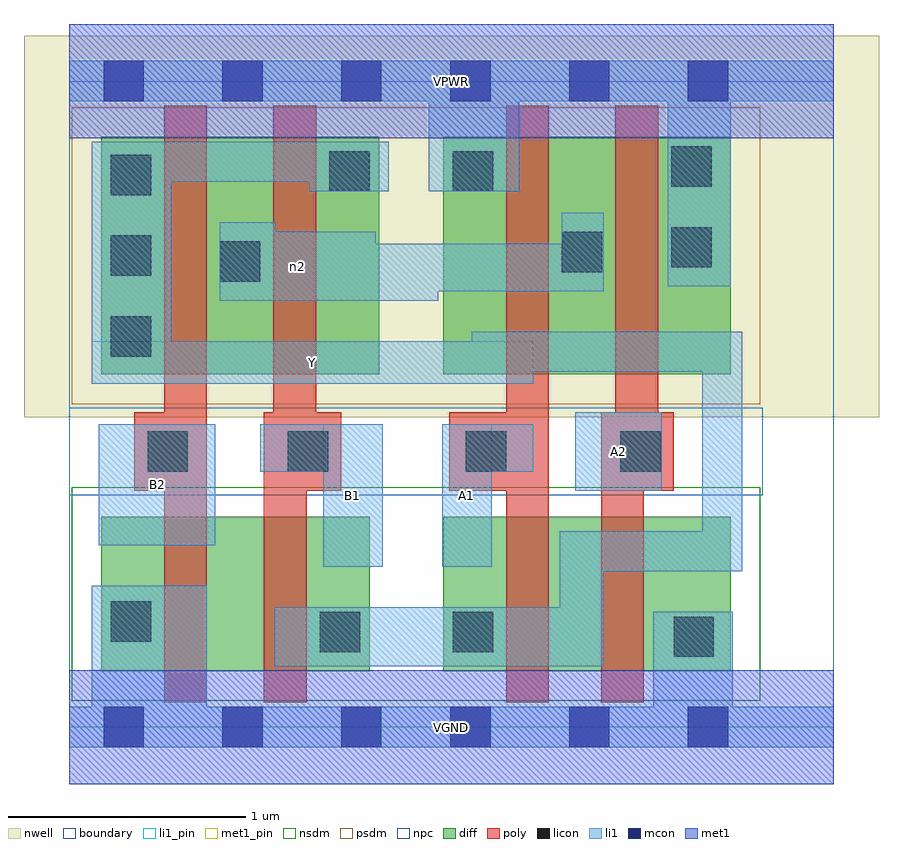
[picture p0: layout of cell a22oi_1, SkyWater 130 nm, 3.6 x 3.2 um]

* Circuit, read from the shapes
.subckt a22oi_1 A1 A2 B1 B2 VGND VPWR Y n2
XM1 n1 B2 VGND VSUBS sky130_fd_pr__nfet_01v8 w=0.65 l=0.18
XM2 Y B1 n1 VSUBS sky130_fd_pr__nfet_01v8 w=0.65 l=0.18
XM3 n3 A1 Y VSUBS sky130_fd_pr__nfet_01v8 w=0.65 l=0.18
XM4 VGND A2 n3 VSUBS sky130_fd_pr__nfet_01v8 w=0.65 l=0.18
XM5 n2 B2 Y n4 sky130_fd_pr__pfet_01v8 w=1 l=0.18
XM6 Y B1 n2 n4 sky130_fd_pr__pfet_01v8 w=1 l=0.18
XM7 n2 A1 VPWR n4 sky130_fd_pr__pfet_01v8 w=1 l=0.18
XM8 VPWR A2 n2 n4 sky130_fd_pr__pfet_01v8 w=1 l=0.18
.ends

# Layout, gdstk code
import gdstk
lib = gdstk.Library(unit=1e-6, precision=1e-09)
def R(c, l, rs):  # rectangles x0, y0, x1, y1
    for r in rs: c.add(gdstk.rectangle(r[:2], r[2:], *l))
def A(c, l, x, y, w, h, nx, ny, dx, dy):  # array of equal rectangles
    R(c, l, [(x+i*dx, y+j*dy, x+i*dx+w, y+j*dy+h) for i in range(nx) for j in range(ny)])
nwell = (64, 20)
diff = (65, 20)
poly = (66, 20)
licon = (66, 44)
li1_pin = (67, 16)
li1 = (67, 20)
mcon = (67, 44)
met1_pin = (68, 16)
met1 = (68, 20)
nsdm = (93, 44)
psdm = (94, 20)
npc = (95, 20)
boundary = (235, 4)

a22oi_1 = lib.new_cell('a22oi_1')
R(a22oi_1, nwell, [(-0.19,1.305,3.41,2.91), (0,1.305,3.22,2.91)])
R(a22oi_1, diff, [(0.135,0.235,1.265,0.885), (1.575,0.235,2.785,0.885), (0.135,1.485,1.305,2.485), (1.575,1.485,2.785,2.485)])
R(a22oi_1, poly, [(0.4,0.105,0.58,2.615), (0.82,0.105,1,1.325), (1.84,0.105,2.02,2.615), (2.24,0.105,2.42,1.325), (0.275,0.995,0.58,1.325), (0.82,0.995,1.145,1.325), (0.86,0.995,1.04,2.615), (1.6,0.995,2.02,1.325), (2.24,0.995,2.545,1.325), (2.3,0.995,2.48,2.615)])
A(a22oi_1, licon, 0.175, 1.56, 0.17, 0.17, 1, 3, 0, 0.34)
R(a22oi_1, licon, [(2.545,0.295,2.715,0.465), (1.055,0.315,1.225,0.485), (1.615,0.315,1.785,0.485), (0.175,0.36,0.345,0.53), (0.33,1.075,0.5,1.245), (0.92,1.075,1.09,1.245), (1.67,1.075,1.84,1.245), (2.32,1.075,2.49,1.245), (0.635,1.875,0.805,2.045), (2.075,1.915,2.245,2.085), (2.535,1.935,2.705,2.105), (1.095,2.255,1.265,2.425), (1.615,2.255,1.785,2.425), (2.535,2.275,2.705,2.445)])
R(a22oi_1, li1_pin, [(1.07,0.675,1.32,1.275), (1.57,0.675,1.78,1.275), (0.125,0.765,0.615,1.275), (2.13,0.995,2.495,1.325), (0.095,1.445,1.955,1.625)])
R(a22oi_1, li1, [(0,-0.085,3.22,0.085), (0.095,-0.085,0.58,0.595), (2.46,-0.085,2.795,0.485), (0.865,0.255,2.25,0.505), (2.065,0.255,2.25,0.825), (2.065,0.655,2.835,0.825), (2.665,0.655,2.835,1.665), (1.07,0.675,1.32,1.275), (1.57,0.675,1.78,1.275), (0.125,0.765,0.615,1.275), (2.13,0.995,2.495,1.325), (0.805,1.075,1.32,1.275), (1.57,1.075,1.955,1.275), (0.095,1.445,0.43,2.465), (0.095,1.445,1.955,1.625), (1.695,1.495,2.835,1.665), (0.635,1.795,1.29,2.085), (0.635,1.795,1.555,2.035), (0.635,1.795,0.87,2.125), (0.635,1.835,2.25,2.035), (2.075,1.835,2.25,2.165), (2.52,1.855,2.785,2.805), (1.01,2.255,1.345,2.465), (1.515,2.255,1.895,2.805), (0.095,2.295,1.345,2.465), (0,2.635,3.22,2.805)])
A(a22oi_1, mcon, 0.145, -0.085, 0.17, 0.17, 3, 2, 0.5, 2.72)
A(a22oi_1, mcon, 1.605, -0.085, 0.17, 0.17, 3, 2, 0.5, 2.72)
R(a22oi_1, met1_pin, [(0,-0.24,3.22,0.24), (0,2.48,3.22,2.96)])
R(a22oi_1, met1, [(0,-0.24,3.22,0.24), (0,2.48,3.22,2.96)])
R(a22oi_1, nsdm, [(0.01,0.11,2.91,1.01)])
R(a22oi_1, psdm, [(0.01,1.36,2.91,2.61)])
R(a22oi_1, npc, [(0,0.975,2.92,1.345)])
R(a22oi_1, boundary, [(0,0,3.22,2.72)])
a22oi_1.add(gdstk.Label('A1', (1.675,0.975), layer=67, texttype=5))
a22oi_1.add(gdstk.Label('A2', (2.312,1.16), layer=67, texttype=5))
a22oi_1.add(gdstk.Label('B1', (1.195,0.975), layer=67, texttype=5))
a22oi_1.add(gdstk.Label('B2', (0.37,1.02), layer=67, texttype=5))
a22oi_1.add(gdstk.Label('Y', (1.025,1.535), layer=67, texttype=5))
a22oi_1.add(gdstk.Label('n2', (0.962,1.94), layer=67, texttype=5))
a22oi_1.add(gdstk.Label('VPWR', (1.61,2.72), layer=68, texttype=5))
a22oi_1.add(gdstk.Label('VGND', (1.61,0), layer=68, texttype=5))
a22oi_1.add(gdstk.Label('A1', (1.675,0.975), layer=67, texttype=16))
a22oi_1.add(gdstk.Label('A2', (2.312,1.16), layer=67, texttype=16))
a22oi_1.add(gdstk.Label('B1', (1.195,0.975), layer=67, texttype=16))
a22oi_1.add(gdstk.Label('B2', (0.37,1.02), layer=67, texttype=16))
a22oi_1.add(gdstk.Label('Y', (1.025,1.535), layer=67, texttype=16))
a22oi_1.add(gdstk.Label('VPWR', (1.61,2.72), layer=68, texttype=16))
a22oi_1.add(gdstk.Label('VGND', (1.61,0), layer=68, texttype=16))

lib.write_gds('a22oi_1.gds')
